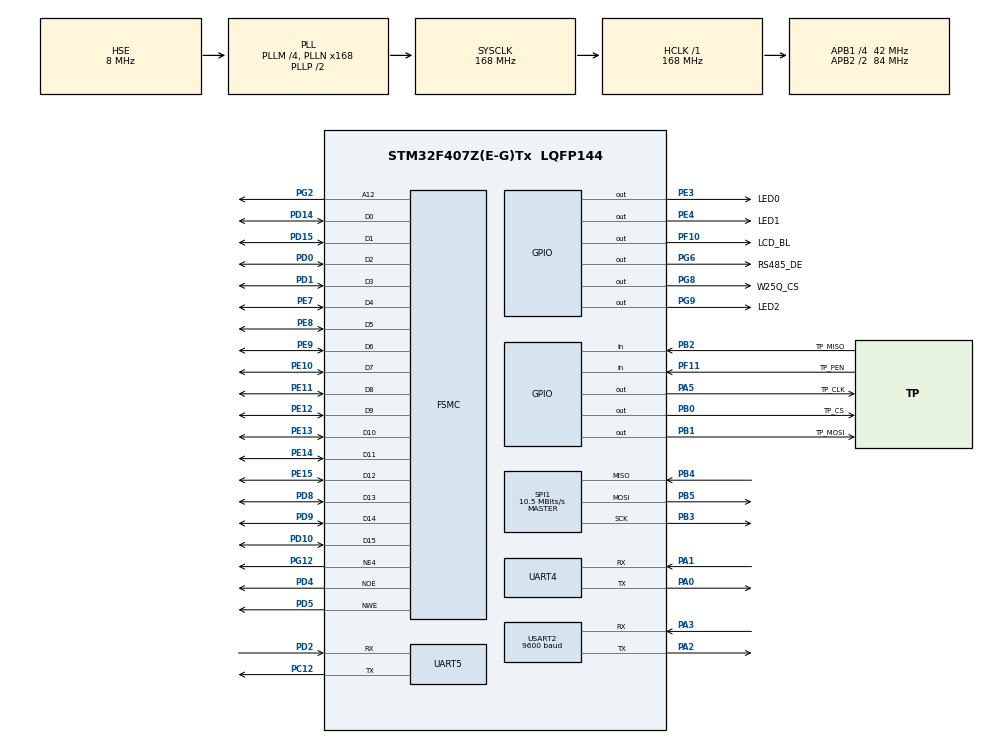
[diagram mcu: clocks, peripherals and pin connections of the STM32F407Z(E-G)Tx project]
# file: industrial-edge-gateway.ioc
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Dma.Request0=UART4_RX
Dma.Request1=UART4_TX
Dma.UART4_RX.0.Direction=DMA_PERIPH_TO_MEMORY
Dma.UART4_RX.0.FIFOMode=DMA_FIFOMODE_DISABLE
Dma.UART4_RX.0.Instance=DMA1_Stream2
Dma.UART4_RX.0.MemDataAlignment=DMA_MDATAALIGN_BYTE
Dma.UART4_RX.0.MemInc=DMA_MINC_ENABLE
Dma.UART4_RX.0.Mode=DMA_NORMAL
Dma.UART4_RX.0.PeriphDataAlignment=DMA_PDATAALIGN_BYTE
Dma.UART4_RX.0.PeriphInc=DMA_PINC_DISABLE
Dma.UART4_RX.0.Priority=DMA_PRIORITY_LOW
Dma.UART4_TX.1.Direction=DMA_MEMORY_TO_PERIPH
Dma.UART4_TX.1.FIFOMode=DMA_FIFOMODE_DISABLE
Dma.UART4_TX.1.Instance=DMA1_Stream4
Dma.UART4_TX.1.MemDataAlignment=DMA_MDATAALIGN_BYTE
Dma.UART4_TX.1.MemInc=DMA_MINC_ENABLE
Dma.UART4_TX.1.Mode=DMA_NORMAL
Dma.UART4_TX.1.PeriphDataAlignment=DMA_PDATAALIGN_BYTE
Dma.UART4_TX.1.PeriphInc=DMA_PINC_DISABLE
Dma.UART4_TX.1.Priority=DMA_PRIORITY_LOW
FREERTOS.Tasks01=defaultTask,24,128,StartDefaultTask,Default,NULL,Dynamic,NULL,NULL
FREERTOS.configTOTAL_HEAP_SIZE=32768
FREERTOS.configUSE_TICKLESS_IDLE=2
FSMC.AddressSetupTime4=15
FSMC.BusTurnAroundDuration4=0
FSMC.DataSetupTime4=60
FSMC.ExtendedAddressSetupTime4=9
FSMC.ExtendedBusTurnAroundDuration4=0
FSMC.ExtendedDataSetupTime4=8
FSMC.ExtendedMode4=FSMC_EXTENDED_MODE_ENABLE
IWDG.Prescaler=IWDG_PRESCALER_256
IWDG.Reload=2500-1
Mcu.Family=STM32F4
Mcu.Name=STM32F407Z(E-G)Tx
Mcu.Package=LQFP144
NVIC.DMA1_Stream2_IRQn=true\:5\:0\:false\:false\:true\:true\:true\:true\:true
NVIC.DMA1_Stream4_IRQn=true\:5\:0\:false\:false\:true\:true\:true\:true\:true
NVIC.PriorityGroup=NVIC_PRIORITYGROUP_4
NVIC.RTC_WKUP_IRQn=true\:5\:0\:false\:false\:true\:true\:true\:true\:true
NVIC.TIM3_IRQn=true\:5\:0\:false\:false\:true\:true\:true\:true\:true
NVIC.TimeBase=TIM4_IRQn
NVIC.TimeBaseIP=TIM4
NVIC.UART4_IRQn=true\:5\:0\:false\:false\:true\:true\:true\:true\:true
NVIC.UART5_IRQn=true\:5\:0\:false\:false\:true\:true\:true\:true\:true
NVIC.USART2_IRQn=true\:5\:0\:false\:false\:true\:true\:true\:true\:true
PA0-WKUP.Mode=Asynchronous
PA0-WKUP.Signal=UART4_TX
PA1.Mode=Asynchronous
PA1.Signal=UART4_RX
PA13.Mode=Serial_Wire
PA13.Signal=SYS_JTMS-SWDIO
PA14.Mode=Serial_Wire
PA14.Signal=SYS_JTCK-SWCLK
PA2.Mode=Asynchronous
PA2.Signal=USART2_TX
PA3.Mode=Asynchronous
PA3.Signal=USART2_RX
PA5.GPIO_Label=TP_CLK
PA5.PinState=GPIO_PIN_RESET
PA5.Signal=GPIO_Output
PB0.GPIO_Label=TP_CS
PB0.PinState=GPIO_PIN_SET
PB0.Signal=GPIO_Output
PB1.GPIO_Label=TP_MOSI
PB1.Signal=GPIO_Output
PB2.GPIO_Label=TP_MISO
PB2.Signal=GPIO_Input
PB3.Mode=Full_Duplex_Master
PB3.Signal=SPI1_SCK
PB4.Mode=Full_Duplex_Master
PB4.Signal=SPI1_MISO
PB5.Mode=Full_Duplex_Master
PB5.Signal=SPI1_MOSI
PC12.Mode=Asynchronous
PC12.Signal=UART5_TX
PC14-OSC32_IN.Mode=LSE-External-Oscillator
PC14-OSC32_IN.Signal=RCC_OSC32_IN
PC15-OSC32_OUT.Mode=LSE-External-Oscillator
PC15-OSC32_OUT.Signal=RCC_OSC32_OUT
PD0.Signal=FSMC_D2_DA2
PD1.Signal=FSMC_D3_DA3
PD10.Signal=FSMC_D15_DA15
PD14.Signal=FSMC_D0_DA0
PD15.Signal=FSMC_D1_DA1
PD2.Mode=Asynchronous
PD2.Signal=UART5_RX
PD4.Signal=FSMC_NOE
PD5.Signal=FSMC_NWE
PD8.Signal=FSMC_D13_DA13
PD9.Signal=FSMC_D14_DA14
PE10.Signal=FSMC_D7_DA7
PE11.Signal=FSMC_D8_DA8
PE12.Signal=FSMC_D9_DA9
PE13.Signal=FSMC_D10_DA10
PE14.Signal=FSMC_D11_DA11
PE15.Signal=FSMC_D12_DA12
PE3.GPIO_Label=LED0
PE3.PinState=GPIO_PIN_SET
PE3.Signal=GPIO_Output
PE4.GPIO_Label=LED1
PE4.PinState=GPIO_PIN_SET
PE4.Signal=GPIO_Output
PE7.Signal=FSMC_D4_DA4
PE8.Signal=FSMC_D5_DA5
PE9.Signal=FSMC_D6_DA6
PF10.GPIO_Label=LCD_BL
PF10.PinState=GPIO_PIN_SET
PF10.Signal=GPIO_Output
PF11.GPIO_Label=TP_PEN
PF11.GPIO_PuPd=GPIO_PULLUP
PF11.Signal=GPIO_Input
PG12.Mode=NorPsramChipSelect4_4
PG12.Signal=FSMC_NE4
PG2.Signal=FSMC_A12
PG6.GPIO_Label=RS485_DE
PG6.PinState=GPIO_PIN_RESET
PG6.Signal=GPIO_Output
PG8.GPIO_Label=W25Q_CS
PG8.PinState=GPIO_PIN_SET
PG8.Signal=GPIO_Output
PG9.GPIO_Label=LED2
PG9.PinState=GPIO_PIN_SET
PG9.Signal=GPIO_Output
PH0-OSC_IN.Mode=HSE-External-Oscillator
PH0-OSC_IN.Signal=RCC_OSC_IN
PH1-OSC_OUT.Mode=HSE-External-Oscillator
PH1-OSC_OUT.Signal=RCC_OSC_OUT
ProjectManager.HeapSize=0x200
ProjectManager.StackSize=0x400
ProjectManager.TargetToolchain=CMake
RCC.48MHZClocksFreq_Value=84000000
RCC.AHBFreq_Value=168000000
RCC.APB1CLKDivider=RCC_HCLK_DIV4
RCC.APB1Freq_Value=42000000
RCC.APB1TimFreq_Value=84000000
RCC.APB2CLKDivider=RCC_HCLK_DIV2
RCC.APB2Freq_Value=84000000
RCC.APB2TimFreq_Value=168000000
RCC.CortexFreq_Value=168000000
RCC.EnbaleCSS=true
RCC.HCLKFreq_Value=168000000
RCC.HSE_VALUE=8000000
RCC.HSI_VALUE=16000000
RCC.PLLM=4
RCC.PLLN=168
RCC.PLLSourceVirtual=RCC_PLLSOURCE_HSE
RCC.RCC_RTC_Clock_Source=RCC_RTCCLKSOURCE_LSE
RCC.RCC_RTC_Clock_SourceVirtual=RCC_RTCCLKSOURCE_LSI
RCC.SYSCLKFreq_VALUE=168000000
RCC.SYSCLKSource=RCC_SYSCLKSOURCE_PLLCLK
RCC.VCOOutputFreq_Value=336000000
SH.FSMC_A12.0=FSMC_A12,A12_4
SH.FSMC_D0_DA0.0=FSMC_D0,16b-d4
SH.FSMC_D10_DA10.0=FSMC_D10,16b-d4
SH.FSMC_D11_DA11.0=FSMC_D11,16b-d4
SH.FSMC_D12_DA12.0=FSMC_D12,16b-d4
SH.FSMC_D13_DA13.0=FSMC_D13,16b-d4
SH.FSMC_D14_DA14.0=FSMC_D14,16b-d4
SH.FSMC_D15_DA15.0=FSMC_D15,16b-d4
SH.FSMC_D1_DA1.0=FSMC_D1,16b-d4
SH.FSMC_D2_DA2.0=FSMC_D2,16b-d4
SH.FSMC_D3_DA3.0=FSMC_D3,16b-d4
SH.FSMC_D4_DA4.0=FSMC_D4,16b-d4
SH.FSMC_D5_DA5.0=FSMC_D5,16b-d4
SH.FSMC_D6_DA6.0=FSMC_D6,16b-d4
SH.FSMC_D7_DA7.0=FSMC_D7,16b-d4
SH.FSMC_D8_DA8.0=FSMC_D8,16b-d4
SH.FSMC_D9_DA9.0=FSMC_D9,16b-d4
SH.FSMC_NOE.0=FSMC_NOE,Lcd4
SH.FSMC_NWE.0=FSMC_NWE,Lcd4
SPI1.BaudRatePrescaler=SPI_BAUDRATEPRESCALER_8
SPI1.CalculateBaudRate=10.5 MBits/s
SPI1.Direction=SPI_DIRECTION_2LINES
SPI1.Mode=SPI_MODE_MASTER
SPI1.VirtualType=VM_MASTER
TIM3.Period=1000-1
TIM3.Prescaler=100-1
UART4.VirtualMode=Asynchronous
UART5.VirtualMode=Asynchronous
USART2.BaudRate=9600
USART2.VirtualMode=VM_ASYNC
VP_FREERTOS_VS_CMSIS_V2.Mode=CMSIS_V2
VP_IWDG_VS_IWDG.Mode=IWDG_Activate
VP_RTC_VS_RTC_Activate.Mode=RTC_Enabled
VP_RTC_VS_RTC_WakeUp_intern.Mode=WakeUp
VP_SYS_VS_tim4.Mode=TIM4
VP_TIM3_VS_ClockSourceINT.Mode=Internal
board=custom

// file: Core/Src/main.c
/* USER CODE BEGIN Header */
/**
  ******************************************************************************
  * @file           : main.c
  * @brief          : Main program body
  ******************************************************************************
  * @attention
  *
  * Copyright (c) 2026 STMicroelectronics.
  * All rights reserved.
  *
  * This software is licensed under terms that can be found in the LICENSE file
  * in the root directory of this software component.
  * If no LICENSE file comes with this software, it is provided AS-IS.
  *
  ******************************************************************************
  */
/* USER CODE END Header */
#include "main.h"
#include "cmsis_os.h"
#include "dma.h"
#include "iwdg.h"
#include "rtc.h"
#include "spi.h"
#include "tim.h"
#include "usart.h"
#include "gpio.h"
#include "fsmc.h"

/* USER CODE BEGIN Includes */
#include <stdio.h>
#include "FreeRTOS.h"
#include "semphr.h"
#include "lcd.h"
#include "touch.h"
#include "modbus.h"
#include "esp_uart.h"
#include "w25qxx.h"
#include "log.h"
#include "cache.h"
#include "clock.h"
#include "tim.h"
#include "usart.h"
#include "gpio.h"
#include "lvgl.h"
#include "esp_uart.h"
/* USER CODE END Includes */

void SystemClock_Config(void);
void MX_FREERTOS_Init(void);

/* USER CODE BEGIN 0 */
uint8_t esp_rx_dma_buf[256];

#if DBG_PRINT_ENABLE
/* UART5 调试口互斥锁：所有任务都会经 Log_Write → dbg_print 用这条串口，
 * 不加锁时两个任务的输出按字节交错成乱行。在 MX_FREERTOS_Init 里创建；
 * 创建前（内核未起的极早期打印）为 NULL，直接发送、不加锁。 */
SemaphoreHandle_t dbg_uart_mutex = NULL;

/* 调试串口（UART5）：只打关键事件，不逐条刷发布。
 *
 * 两处都是有限超时，原因：
 * 1) 发送不再用 HAL_MAX_DELAY：一行最长 128B @115200 约 11ms，给 100ms 只兜
 *    硬件挂死。本函数会被持 esp_uart_mutex 的路径（AT 心跳 / MQTT 发布里的
 *    Log_Write）调到，无限阻塞等于放大临界区，和"缩短持锁时间"对着干。
 * 2) 取锁给 50ms 短超时：拿不到宁可丢这一行日志——调试口不能反过来拖死
 *    业务，丢一行 log 的代价远小于堵住持锁任务 50ms。 */
void dbg_print(const char *fmt, ...) {
    char buf[128];
    va_list ap;
    va_start(ap, fmt);
    int n = vsnprintf(buf, sizeof(buf), fmt, ap);
    va_end(ap);
    if (n <= 0)
        return;
    /* vsnprintf 的返回值是"本该写多长"，**可能大于 buf 的大小**：
     * 原来直接把这个 n 交给 HAL_UART_Transmit，越界的部分会把栈上 128 字节之外的
     * 邻近内存当数据发出去（越界读）。必须自己截断。 */
    if (n > (int)sizeof(buf) - 1)
        n = (int)sizeof(buf) - 1;
    if (dbg_uart_mutex == NULL ||
        xSemaphoreTake(dbg_uart_mutex, pdMS_TO_TICKS(50)) == pdTRUE) {
        HAL_UART_Transmit(&huart5, (uint8_t *)buf, (uint16_t)n, 100);
        if (dbg_uart_mutex) xSemaphoreGive(dbg_uart_mutex);
    }
}
#endif /* DBG_PRINT_ENABLE */
/* USER CODE END 0 */

int main(void)
{

  /* MCU Configuration--------------------------------------------------------*/

  /* Reset of all peripherals, Initializes the Flash interface and the Systick. */
  HAL_Init();

  /* USER CODE BEGIN Init */

  /* ★ 复位原因捕获 —— 必须放在这里，两个"必须"：
   *   ① 必须在 HAL_Init() **之后**：HAL_Init() 内部会调 HAL_MspInit，
   *      而真正清标志的是下面那句 __HAL_RCC_CLEAR_RESET_FLAGS()；
   *      更早读也是可以的，但放在 HAL_Init 之后能确保 RCC 已可用。
   *   ② 必须在 LOG 初始化**之前**读、在 Log_Init() **之后**写：
   *      此刻 Log_Init() 还没跑（它在 USER CODE 2 里），直接 Log_Write
   *      会写进未初始化的日志区，所以先存进一个变量中转。
   *
   * 为什么需要它：看门狗复位和上电复位在现象上完全一样（都是"设备重启了"），
   * 没有这一行就永远不知道现场到底是被狗咬的还是掉电。日志页里能看到
   * "reset by IWDG" 和 "power-on reset" 的区别，是排查"莫名重启"的第一条线索。
   *
   * 注意读的顺序：POR/PIN/BOR 这些标志是"累积"的，不清除会一直置位；
   * 所以先把关心的都读出来，再统一清一次。 */
  uint8_t rst_iwdg = (__HAL_RCC_GET_FLAG(RCC_FLAG_IWDGRST) != RESET) ? 1U : 0U;
  uint8_t rst_por  = (__HAL_RCC_GET_FLAG(RCC_FLAG_PORRST)  != RESET) ? 1U : 0U;
  uint8_t rst_pin  = (__HAL_RCC_GET_FLAG(RCC_FLAG_PINRST)  != RESET) ? 1U : 0U;
  uint8_t rst_soft = (__HAL_RCC_GET_FLAG(RCC_FLAG_SFTRST)  != RESET) ? 1U : 0U;
  __HAL_RCC_CLEAR_RESET_FLAGS();

  /* USER CODE END Init */

  /* Configure the system clock */
  SystemClock_Config();

  /* Initialize all configured peripherals */
  MX_GPIO_Init();
  MX_DMA_Init();
  MX_FSMC_Init();
  MX_SPI1_Init();
  MX_USART2_UART_Init();
  MX_UART4_Init();
  MX_TIM3_Init();
  MX_IWDG_Init();
  MX_RTC_Init();
  MX_UART5_Init();
  /* USER CODE BEGIN 2 */

  SPI_FLASH_Init();                          /* W25Q128: SPI1 + CS(PG8) */
  HAL_TIM_Base_Start_IT(&htim3);             /* TIM3 1ms: LVGL 心跳 */
  Log_Init();
  /* Log 已就绪，把上面在 Init 区捕获的复位原因落盘。放在这里而不是更早，
   * 是因为 Log_Init() 之前写日志会落到未初始化的区域。
   * 只记一条汇总：优先级 IWDG > 掉电 > 外部复位 > 软复位。
   * 为什么 IWDG 优先——它才是需要行动的那一条（说明有东西卡住了）；
   * 其余三种是正常的上电/按键复位，不需要告警。 */
  if (rst_iwdg)      Log_Write(LOG_WARN,  "reset by IWDG");
  else if (rst_por)  Log_Write(LOG_INFO,  "reset by power-on");
  else if (rst_pin)  Log_Write(LOG_INFO,  "reset by external pin");
  else if (rst_soft) Log_Write(LOG_INFO,  "reset by software");
  FlashCache_Init();                         /* 定位补传缓存写地址 */
  Clock_Init();                              /* 时间服务：RTC 备份域 / 编译时间定初值 */
  RS485_RX;                                  /* 485 默认接收 */
  HAL_UARTEx_ReceiveToIdle_DMA(&huart4, esp_rx_dma_buf, sizeof(esp_rx_dma_buf));   /* ESP8266 DMA 空闲接收 */
  __HAL_DMA_DISABLE_IT(&hdma_uart4_rx, DMA_IT_HT);
  /* USER CODE END 2 */

  /* Init scheduler */
  osKernelInitialize();  /* Call init function for freertos objects (in cmsis_os2.c) */
  MX_FREERTOS_Init();

  /* Start scheduler */
  osKernelStart();

  /* We should never get here as control is now taken by the scheduler */

  /* Infinite loop */
  while (1)
  {

  }
}

void SystemClock_Config(void)
{
  RCC_OscInitTypeDef RCC_OscInitStruct = {0};
  RCC_ClkInitTypeDef RCC_ClkInitStruct = {0};

  /** Configure the main internal regulator output voltage
  */
  __HAL_RCC_PWR_CLK_ENABLE();
  __HAL_PWR_VOLTAGESCALING_CONFIG(PWR_REGULATOR_VOLTAGE_SCALE1);

  /** Initializes the RCC Oscillators according to the specified parameters
  * in the RCC_OscInitTypeDef structure.
  */
  RCC_OscInitStruct.OscillatorType = RCC_OSCILLATORTYPE_LSI|RCC_OSCILLATORTYPE_HSE
                              |RCC_OSCILLATORTYPE_LSE;
  RCC_OscInitStruct.HSEState = RCC_HSE_ON;
  RCC_OscInitStruct.LSEState = RCC_LSE_ON;
  RCC_OscInitStruct.LSIState = RCC_LSI_ON;
  RCC_OscInitStruct.PLL.PLLState = RCC_PLL_ON;
  RCC_OscInitStruct.PLL.PLLSource = RCC_PLLSOURCE_HSE;
  RCC_OscInitStruct.PLL.PLLM = 4;
  RCC_OscInitStruct.PLL.PLLN = 168;
  RCC_OscInitStruct.PLL.PLLP = RCC_PLLP_DIV2;
  RCC_OscInitStruct.PLL.PLLQ = 4;
  if (HAL_RCC_OscConfig(&RCC_OscInitStruct) != HAL_OK)
  {
    Error_Handler();
  }

  /** Initializes the CPU, AHB and APB buses clocks
  */
  RCC_ClkInitStruct.ClockType = RCC_CLOCKTYPE_HCLK|RCC_CLOCKTYPE_SYSCLK
                              |RCC_CLOCKTYPE_PCLK1|RCC_CLOCKTYPE_PCLK2;
  RCC_ClkInitStruct.SYSCLKSource = RCC_SYSCLKSOURCE_PLLCLK;
  RCC_ClkInitStruct.AHBCLKDivider = RCC_SYSCLK_DIV1;
  RCC_ClkInitStruct.APB1CLKDivider = RCC_HCLK_DIV4;
  RCC_ClkInitStruct.APB2CLKDivider = RCC_HCLK_DIV2;

  if (HAL_RCC_ClockConfig(&RCC_ClkInitStruct, FLASH_LATENCY_5) != HAL_OK)
  {
    Error_Handler();
  }

  /** Enables the Clock Security System
  */
  HAL_RCC_EnableCSS();
}

void HAL_TIM_PeriodElapsedCallback(TIM_HandleTypeDef *htim)
{
  /* USER CODE BEGIN Callback 0 */
  if (htim->Instance == TIM3)
  {
    lv_tick_inc(1);                          /* LVGL 1ms 心跳 */
  }
  /* USER CODE END Callback 0 */
  if (htim->Instance == TIM4)
  {
    HAL_IncTick();
  }
}

void Error_Handler(void)
{
  __disable_irq();
  while (1)
  {
  }
}

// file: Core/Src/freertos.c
/* USER CODE BEGIN Header */
/**
  ******************************************************************************
  * File Name          : freertos.c
  * Description        : Code for freertos applications
  ******************************************************************************
  * @attention
  *
  * Copyright (c) 2026 STMicroelectronics.
  * All rights reserved.
  *
  * This software is licensed under terms that can be found in the LICENSE file
  * in the root directory of this software component.
  * If no LICENSE file comes with this software, it is provided AS-IS.
  *
  ******************************************************************************
  */
/* USER CODE END Header */

#include "FreeRTOS.h"
#include "task.h"
#include "main.h"
#include "cmsis_os.h"

/* USER CODE BEGIN Includes */
#include "tasks.h"
#include "queue.h"
#include "semphr.h"
/* 这些全局定义在 tasks.c */
extern TickType_t idle_tick;
extern TickType_t power_tick;
extern uint8_t    lcd_bl_en;
extern QueueHandle_t data_queue;
extern QueueHandle_t lvgl_data_queue;
extern SemaphoreHandle_t esp_uart_mutex;
extern SemaphoreHandle_t flash_mutex;   /* flash.c 定义，保护 SPI Flash 跨任务访问 */
#if DBG_PRINT_ENABLE
extern SemaphoreHandle_t dbg_uart_mutex; /* main.c 定义，保护 UART5 调试口（dbg_print） */
#endif
#include "lvgl.h"
/* USER CODE END Includes */

/* Definitions for defaultTask */
osThreadId_t defaultTaskHandle;
const osThreadAttr_t defaultTask_attributes = {
  .name = "defaultTask",
  .stack_size = 128 * 4,
  .priority = (osPriority_t) osPriorityNormal,
};

void StartDefaultTask(void *argument);

void MX_FREERTOS_Init(void); /* (MISRA C 2004 rule 8.1) */

/* USER CODE BEGIN VPORT_SUPPORT_TICKS_AND_SLEEP */
__weak void vPortSuppressTicksAndSleep( TickType_t xExpectedIdleTime )
{
  // Generated when configUSE_TICKLESS_IDLE == 2.
  // Function called in tasks.c (in portTASK_FUNCTION).
  // TO BE COMPLETED or TO BE REPLACED by a user one, overriding that weak one.
}
/* USER CODE END VPORT_SUPPORT_TICKS_AND_SLEEP */

void MX_FREERTOS_Init(void) {

  /* USER CODE BEGIN RTOS_MUTEX */
  esp_uart_mutex = xSemaphoreCreateMutex();
  flash_mutex = xSemaphoreCreateMutex();
#if DBG_PRINT_ENABLE   /* 关日志时 dbg_print 是空宏，锁没人用，不创建 */
  dbg_uart_mutex = xSemaphoreCreateMutex();   /* UART5 调试口：多任务 Log_Write 共用 */
#endif
  /* USER CODE END RTOS_MUTEX */

  /* USER CODE BEGIN RTOS_QUEUES */
  data_queue      = xQueueCreate(1, sizeof(Data_t));   /* Modbus 用 xQueueOverwrite 写，长度必须为 1 */
  lvgl_data_queue = xQueueCreate(1, sizeof(Data_t));
  /* USER CODE END RTOS_QUEUES */

  /* Create the thread(s) */
  /* creation of defaultTask */
  defaultTaskHandle = osThreadNew(StartDefaultTask, NULL, &defaultTask_attributes);

}

void StartDefaultTask(void *argument)
{
  /* USER CODE BEGIN StartDefaultTask */
        /* 创建 5 个业务任务后自删（优先级沿用原工程 CMSIS 数值）。
         * MQTT 任务的栈给 1024（原 512）：-fstack-usage 量最坏链
         * 「发布 → PUBACK 后的下行解析 → Log_Write → dbg_print → printf」约 2.9KB，
         * 实测 uxTaskGetSystemState 的剩余栈最小值只剩 2112B/4096 = 峰值用掉 1984B，
         * 即原来 512(word)=2KB 已到 97%，必须加。 */
        xTaskCreate(UI,        "UITask",     1024, NULL, osPriorityAboveNormal,     NULL);
        xTaskCreate(Modbus,    "SensorTask",  512, NULL, osPriorityNormal + 1,      NULL);
        xTaskCreate(AT,        "NetworkTask", 512, NULL, osPriorityNormal,          NULL);
        xTaskCreate(MQTT,      "MQTTTask",    1024, NULL, osPriorityNormal,          NULL);
        xTaskCreate(Dog_task,  "Dog_task",    256, NULL, osPriorityAboveNormal + 2, NULL);

        power_tick = xTaskGetTickCount();
        idle_tick  = xTaskGetTickCount();
        lcd_bl_en  = 1;

        vTaskDelete(NULL);
        for(;;) { osDelay(1); }
  /* USER CODE END StartDefaultTask */
}
